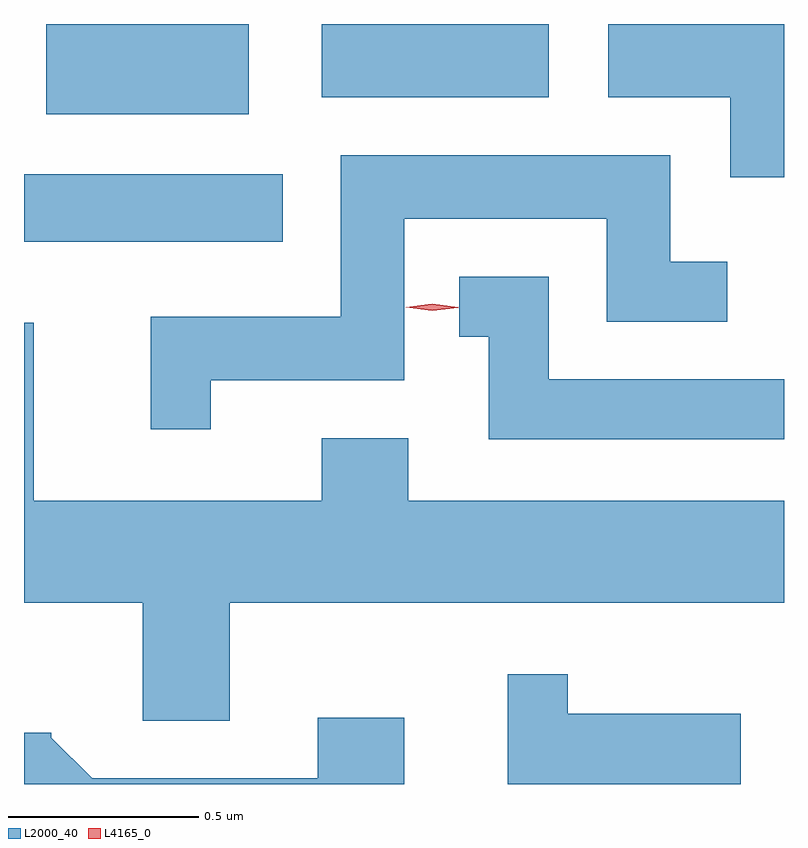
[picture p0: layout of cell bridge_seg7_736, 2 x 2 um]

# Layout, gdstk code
import gdstk
lib = gdstk.Library(unit=1e-6, precision=1e-09)
def R(c, l, rs):  # rectangles x0, y0, x1, y1
    for r in rs: c.add(gdstk.rectangle(r[:2], r[2:], *l))
def P(c, l, *ps):  # polygons
    for p in ps: c.add(gdstk.Polygon(p, *l))
L2000_40 = (2000, 40)
L4165_0 = (4165, 0)

bridge_seg7_736 = lib.new_cell('bridge_seg7_736')
R(bridge_seg7_736, L2000_40, [(537.108,1746.346,537.789,1746.524), (537.166,1746.681,537.699,1746.919), (537.891,1746.726,538.489,1746.919)])
P(bridge_seg7_736, L2000_40, [(539.108,1746.919),(538.646,1746.919),(538.646,1746.726),(538.966,1746.726),(538.966,1746.516),(539.108,1746.516)],
  [(537.599,1745.981),(538.109,1745.981),(538.109,1746.406),(538.641,1746.406),(538.641,1746.136),(538.958,1746.136),(538.958,1746.294),(538.809,1746.294),(538.809,1746.574),(537.941,1746.574),(537.941,1746.149),(537.441,1746.149),(537.441,1745.853),(537.599,1745.853)],
  [(539.108,1745.984),(538.489,1745.984),(538.489,1746.254),(538.253,1746.254),(538.253,1746.096),(538.331,1746.096),(538.331,1745.826),(539.108,1745.826)],
  [(537.649,1745.396),(539.108,1745.396),(539.108,1745.664),(538.119,1745.664),(538.119,1745.829),(537.891,1745.829),(537.891,1745.664),(537.134,1745.664),(537.134,1746.133),(537.108,1746.133),(537.108,1745.396),(537.421,1745.396),(537.421,1745.086),(537.649,1745.086)],
  [(538.994,1745.104),(538.539,1745.104),(538.539,1745.208),(538.381,1745.208),(538.381,1744.919),(538.994,1744.919)],
  [(538.109,1745.094),(537.881,1745.094),(537.881,1744.934),(537.287,1744.934),(537.18,1745.041),(537.18,1745.054),(537.108,1745.054),(537.108,1744.919),(538.109,1744.919)])
P(bridge_seg7_736, L4165_0, [(538.182,1746.164),(538.112,1746.173),(538.112,1746.174),(538.112,1746.174),(538.182,1746.183),(538.251,1746.174),(538.251,1746.173),(538.251,1746.172)])

lib.write_gds('bridge_seg7_736.gds')
